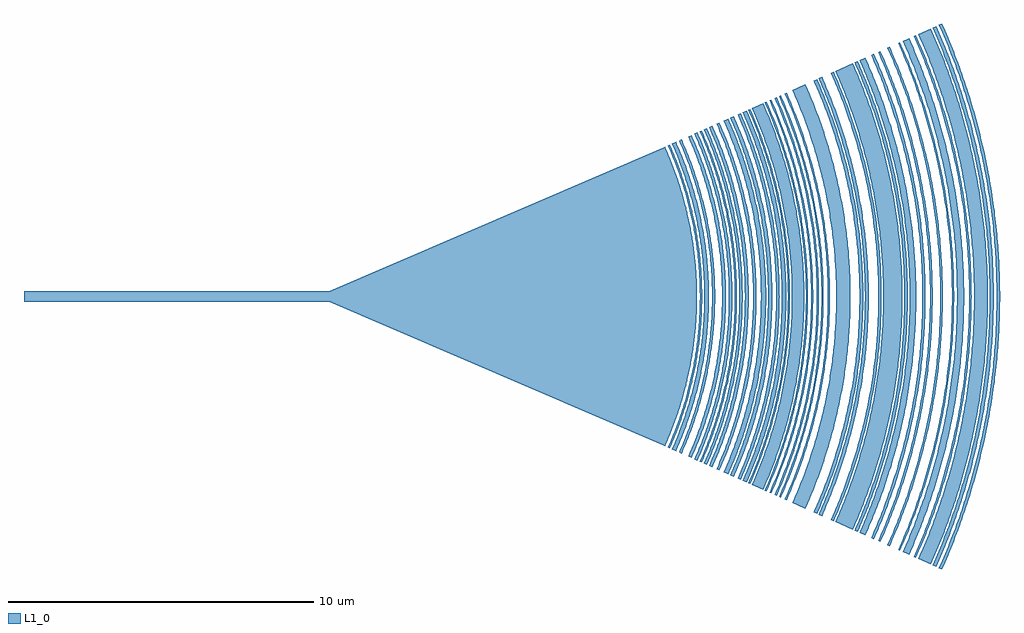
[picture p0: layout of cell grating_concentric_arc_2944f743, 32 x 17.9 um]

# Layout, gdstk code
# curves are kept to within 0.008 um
import gdstk
lib = gdstk.Library(unit=1e-6, precision=1e-09)
def R(c, l, rs):  # rectangles x0, y0, x1, y1
    for r in rs: c.add(gdstk.rectangle(r[:2], r[2:], *l))
def P(c, l, *ps):  # polygons
    for p in ps: c.add(gdstk.Polygon(p, *l))
L1_0 = (1, 0)

straight_b617759b = lib.new_cell('straight_b617759b')
R(straight_b617759b, L1_0, [(0,-0.175,10,0.175)])

ring_f6908f7f_transform_ = lib.new_cell('ring_f6908f7f_transform_39bdeef9')
P(ring_f6908f7f_transform_, L1_0, [(10.963,-4.881),(11.178,-4.366),(11.413,-3.708),(11.591,-3.106),(11.738,-2.495),(11.83,-2.015),(11.927,-1.324),(11.98,-0.698),(12,-0.07),(11.984,0.628),(11.948,1.115),(11.893,1.601),(11.78,2.29),(11.644,2.903),(11.434,3.642),(11.228,4.235),(10.963,4.881),(11.02,4.906),(11.262,4.323),(11.494,3.661),(11.67,3.054),(11.814,2.439),(11.925,1.818),(12.011,1.121),(12.05,0.561),(12.063,-0.07),(12.038,-0.771),(11.973,-1.47),(11.88,-2.095),(11.754,-2.714),(11.652,-3.122),(11.536,-3.527),(11.311,-4.192),(11.211,-4.454),(11.02,-4.906)])

ring_3187604d_transform_ = lib.new_cell('ring_3187604d_transform_6264cd24')
P(ring_3187604d_transform_, L1_0, [(11.112,-4.947),(11.356,-4.359),(11.569,-3.759),(11.731,-3.217),(11.913,-2.46),(12.003,-1.973),(12.09,-1.342),(12.139,-0.778),(12.164,-0.071),(12.154,0.495),(12.118,1.06),(12.025,1.833),(11.927,2.39),(11.803,2.943),(11.693,3.353),(11.569,3.759),(11.356,4.359),(11.112,4.947),(11.174,4.975),(11.394,4.45),(11.633,3.78),(11.815,3.166),(11.965,2.543),(12.07,1.984),(12.165,1.279),(12.219,0.569),(12.232,-0.071),(12.219,-0.569),(12.165,-1.279),(12.07,-1.984),(11.95,-2.613),(11.758,-3.372),(11.633,-3.78),(11.494,-4.184),(11.368,-4.516),(11.174,-4.975)])

ring_612fbc55_transform_ = lib.new_cell('ring_612fbc55_transform_9b670e05')
P(ring_612fbc55_transform_, L1_0, [(11.243,-5.006),(11.515,-4.343),(11.682,-3.871),(11.906,-3.116),(12.038,-2.559),(12.144,-1.996),(12.239,-1.286),(12.286,-0.716),(12.306,-0.143),(12.299,0.429),(12.266,1.001),(12.197,1.642),(12.12,2.137),(11.975,2.838),(11.79,3.53),(11.54,4.276),(11.243,5.006),(11.379,5.066),(11.629,4.464),(11.824,3.918),(12.032,3.224),(12.199,2.519),(12.303,1.949),(12.388,1.302),(12.439,0.652),(12.456,-0.072),(12.426,-0.869),(12.345,-1.662),(12.241,-2.306),(12.086,-3.013),(11.933,-3.572),(11.801,-3.987),(11.629,-4.464),(11.466,-4.867),(11.379,-5.066)])

ring_6fd13dff_transform_ = lib.new_cell('ring_6fd13dff_transform_6d413170')
P(ring_6fd13dff_transform_, L1_0, [(11.476,-5.109),(11.728,-4.502),(11.947,-3.882),(12.115,-3.322),(12.272,-2.683),(12.384,-2.109),(12.477,-1.458),(12.541,-0.73),(12.562,-0.073),(12.545,0.657),(12.508,1.168),(12.44,1.748),(12.345,2.325),(12.189,3.039),(12.013,3.673),(11.754,4.433),(11.476,5.109),(11.563,5.148),(11.817,4.536),(12.038,3.911),(12.245,3.205),(12.396,2.56),(12.502,1.98),(12.596,1.25),(12.644,0.589),(12.657,-0.147),(12.627,-0.883),(12.554,-1.616),(12.439,-2.343),(12.299,-2.991),(12.083,-3.771),(11.817,-4.536),(11.563,-5.148)])

ring_70a0d1d5_transform_ = lib.new_cell('ring_70a0d1d5_transform_9cc16503')
P(ring_70a0d1d5_transform_, L1_0, [(11.776,-5.243),(12.034,-4.62),(12.26,-3.983),(12.432,-3.409),(12.577,-2.827),(12.72,-2.091),(12.812,-1.422),(12.869,-0.75),(12.89,-0.15),(12.877,0.6),(12.835,1.198),(12.765,1.794),(12.668,2.386),(12.508,3.118),(12.283,3.912),(12.034,4.62),(11.776,5.243),(11.888,5.293),(12.121,4.734),(12.376,4.021),(12.589,3.295),(12.744,2.631),(12.864,1.961),(12.949,1.285),(12.999,0.605),(13.012,-0.151),(12.981,-0.908),(12.916,-1.586),(12.802,-2.334),(12.662,-3.001),(12.422,-3.877),(12.121,-4.734),(11.888,-5.293)])

ring_32623f31_transform_ = lib.new_cell('ring_32623f31_transform_3d4aee80')
P(ring_32623f31_transform_, L1_0, [(11.98,-5.334),(12.243,-4.699),(12.472,-4.052),(12.647,-3.468),(12.811,-2.801),(12.94,-2.127),(13.034,-1.447),(13.087,-0.839),(13.113,-0.153),(13.106,0.458),(13.064,1.143),(12.986,1.825),(12.873,2.502),(12.724,3.172),(12.495,3.98),(12.243,4.699),(11.98,5.334),(12.079,5.378),(12.344,4.738),(12.599,4.013),(12.811,3.273),(12.949,2.674),(13.071,1.992),(13.15,1.382),(13.208,0.615),(13.222,-0.077),(13.2,-0.769),(13.124,-1.611),(13.008,-2.372),(12.866,-3.049),(12.622,-3.939),(12.344,-4.738),(12.079,-5.378)])

ring_a5040164_transform_ = lib.new_cell('ring_a5040164_transform_58c725f9')
P(ring_a5040164_transform_, L1_0, [(12.157,-5.413),(12.424,-4.769),(12.68,-4.039),(12.874,-3.369),(13.017,-2.767),(13.144,-2.082),(13.235,-1.391),(13.285,-0.774),(13.308,0),(13.297,0.542),(13.243,1.314),(13.156,2.005),(13.033,2.691),(12.874,3.369),(12.68,4.039),(12.424,4.769),(12.157,5.413),(12.218,5.44),(12.458,4.866),(12.696,4.207),(12.899,3.537),(13.066,2.857),(13.198,2.169),(13.293,1.475),(13.352,0.778),(13.375,0),(13.352,-0.778),(13.293,-1.475),(13.185,-2.246),(13.032,-3.009),(12.919,-3.462),(12.813,-3.836),(12.568,-4.574),(12.401,-5.01),(12.218,-5.44)])

ring_d2cb7e5f_transform_ = lib.new_cell('ring_d2cb7e5f_transform_f403570f')
P(ring_d2cb7e5f_transform_, L1_0, [(12.293,-5.473),(12.563,-4.822),(12.798,-4.158),(12.978,-3.558),(13.146,-2.874),(13.291,-2.105),(13.366,-1.562),(13.429,-0.861),(13.456,-0.157),(13.451,0.391),(13.412,1.095),(13.326,1.873),(13.224,2.491),(13.076,3.179),(12.869,3.934),(12.591,4.749),(12.293,5.473),(12.387,5.515),(12.659,4.859),(12.896,4.19),(13.118,3.433),(13.263,2.819),(13.38,2.199),(13.477,1.496),(13.541,0.71),(13.559,-0.079),(13.532,-0.867),(13.468,-1.574),(13.367,-2.277),(13.194,-3.127),(13.077,-3.586),(12.944,-4.04),(12.659,-4.859),(12.387,-5.515)])

ring_7bb08751_transform_ = lib.new_cell('ring_7bb08751_transform_3d434671')
P(ring_7bb08751_transform_, L1_0, [(12.461,-5.548),(12.734,-4.888),(12.972,-4.215),(13.175,-3.53),(13.342,-2.836),(13.472,-2.134),(13.557,-1.505),(13.617,-0.793),(13.64,-0.079),(13.625,0.635),(13.595,1.11),(13.518,1.82),(13.419,2.447),(13.254,3.223),(13.044,3.988),(12.79,4.74),(12.461,5.548),(12.569,5.596),(12.874,4.856),(13.11,4.176),(13.311,3.484),(13.475,2.782),(13.59,2.152),(13.692,1.359),(13.744,0.64),(13.759,-0.08),(13.736,-0.8),(13.666,-1.597),(13.564,-2.31),(13.388,-3.173),(13.248,-3.715),(13.11,-4.176),(12.956,-4.631),(12.787,-5.08),(12.569,-5.596)])

ring_a05e2332_transform_ = lib.new_cell('ring_a05e2332_transform_80e2dd3d')
P(ring_a05e2332_transform_, L1_0, [(12.706,-5.657),(12.955,-5.06),(13.202,-4.375),(13.413,-3.678),(13.57,-3.05),(13.711,-2.335),(13.814,-1.615),(13.885,-0.809),(13.908,-0.081),(13.897,0.566),(13.848,1.293),(13.773,1.936),(13.653,2.654),(13.495,3.365),(13.252,4.221),(13.013,4.909),(12.706,5.657),(12.801,5.699),(13.053,5.098),(13.327,4.33),(13.535,3.627),(13.707,2.913),(13.853,2.112),(13.936,1.465),(13.994,0.733),(14.013,-0.082),(13.989,-0.815),(13.918,-1.627),(13.814,-2.353),(13.654,-3.152),(13.424,-4.019),(13.276,-4.485),(13.111,-4.946),(12.801,-5.699)])

ring_1d89af07_transform_ = lib.new_cell('ring_1d89af07_transform_c03b8dc9')
P(ring_1d89af07_transform_, L1_0, [(12.94,-5.761),(13.194,-5.153),(13.471,-4.377),(13.682,-3.666),(13.855,-2.945),(13.977,-2.297),(14.078,-1.562),(14.13,-0.988),(14.162,-0.247),(14.156,0.494),(14.124,1.07),(14.059,1.726),(13.949,2.46),(13.763,3.347),(13.521,4.22),(13.253,4.999),(12.94,5.761),(13.091,5.829),(13.408,5.057),(13.629,4.428),(13.842,3.709),(14.051,2.816),(14.179,2.077),(14.268,1.332),(14.318,0.583),(14.328,-0.25),(14.289,-1.083),(14.191,-1.994),(14.051,-2.816),(13.884,-3.548),(13.752,-4.03),(13.603,-4.507),(13.408,-5.057),(13.191,-5.599),(13.091,-5.829)])

ring_d86fe6da_transform_ = lib.new_cell('ring_d86fe6da_transform_7767c9fa')
P(ring_d86fe6da_transform_, L1_0, [(13.155,-5.857),(13.473,-5.082),(13.695,-4.45),(13.909,-3.727),(14.085,-2.994),(14.209,-2.335),(14.312,-1.588),(14.37,-0.921),(14.399,-0.168),(14.388,0.586),(14.345,1.255),(14.271,1.921),(14.151,2.665),(13.972,3.484),(13.746,4.29),(13.473,5.082),(13.155,5.857),(13.275,5.911),(13.567,5.208),(13.821,4.491),(14.037,3.761),(14.232,2.939),(14.366,2.19),(14.461,1.435),(14.52,0.592),(14.532,-0.085),(14.502,-0.929),(14.434,-1.687),(14.311,-2.523),(14.14,-3.351),(13.897,-4.249),(13.74,-4.731),(13.536,-5.287),(13.275,-5.911)])

ring_1d26766f_transform_ = lib.new_cell('ring_1d26766f_transform_23518933')
P(ring_1d26766f_transform_, L1_0, [(13.395,-5.964),(13.689,-5.255),(13.945,-4.531),(14.163,-3.795),(14.324,-3.132),(14.482,-2.294),(14.573,-1.617),(14.638,-0.853),(14.662,-0.085),(14.647,0.682),(14.607,1.278),(14.52,2.041),(14.393,2.798),(14.227,3.547),(13.997,4.368),(13.689,5.255),(13.395,5.964),(13.494,6.008),(13.79,5.293),(14.074,4.483),(14.311,3.657),(14.483,2.903),(14.615,2.141),(14.707,1.373),(14.755,0.687),(14.77,-0.172),(14.735,-1.03),(14.661,-1.8),(14.546,-2.565),(14.392,-3.323),(14.245,-3.906),(14.1,-4.401),(13.79,-5.293),(13.494,-6.008)])

ring_c2eb0f71_transform_ = lib.new_cell('ring_c2eb0f71_transform_50bc300d')
P(ring_c2eb0f71_transform_, L1_0, [(13.564,-6.039),(13.861,-5.321),(14.121,-4.588),(14.319,-3.926),(14.505,-3.171),(14.665,-2.323),(14.757,-1.638),(14.817,-0.95),(14.847,-0.086),(14.835,0.604),(14.791,1.294),(14.715,1.981),(14.607,2.663),(14.427,3.508),(14.199,4.341),(13.892,5.24),(13.564,6.039),(13.694,6.097),(14.026,5.29),(14.283,4.549),(14.502,3.795),(14.663,3.117),(14.806,2.345),(14.917,1.48),(14.97,0.785),(14.99,-0.087),(14.954,-1.046),(14.868,-1.913),(14.747,-2.689),(14.566,-3.542),(14.457,-3.964),(14.283,-4.549),(14.116,-5.045),(13.899,-5.615),(13.694,-6.097)])

ring_e8487d06_transform_ = lib.new_cell('ring_e8487d06_transform_040d5482')
P(ring_e8487d06_transform_, L1_0, [(13.749,-6.121),(14.051,-5.393),(14.314,-4.651),(14.443,-4.232),(14.56,-3.811),(14.703,-3.215),(14.851,-2.441),(14.916,-2.008),(14.968,-1.573),(15.03,-0.788),(15.05,-0.088),(15.048,0.263),(15.03,0.788),(14.977,1.486),(14.904,2.095),(14.757,2.958),(14.582,3.726),(14.393,4.4),(14.23,4.9),(14.082,5.312),(13.888,5.8),(13.749,6.121),(13.804,6.146),(14.107,5.415),(14.344,4.753),(14.573,3.996),(14.762,3.228),(14.91,2.451),(14.987,1.929),(15.028,1.579),(15.09,0.791),(15.106,0.352),(15.11,-0.088),(15.08,-0.966),(15.018,-1.667),(14.951,-2.19),(14.896,-2.537),(14.743,-3.313),(14.662,-3.656),(14.501,-4.249),(14.344,-4.753),(14.229,-5.085),(14.043,-5.579),(13.804,-6.146)])

ring_a9c631b4_transform_ = lib.new_cell('ring_a9c631b4_transform_5d05127f')
P(ring_a9c631b4_transform_, L1_0, [(13.868,-6.174),(14.172,-5.44),(14.41,-4.775),(14.64,-4.014),(14.811,-3.329),(14.965,-2.549),(15.056,-1.938),(15.137,-1.147),(15.174,-0.442),(15.174,0.442),(15.13,1.235),(15.032,2.113),(14.901,2.897),(14.708,3.758),(14.491,4.523),(14.203,5.358),(13.868,6.174),(14.234,6.337),(14.546,5.584),(14.846,4.728),(15.096,3.857),(15.295,2.973),(15.442,2.079),(15.529,1.268),(15.577,0.363),(15.577,-0.363),(15.529,-1.268),(15.486,-1.719),(15.403,-2.348),(15.312,-2.884),(15.202,-3.417),(14.952,-4.382),(14.79,-4.901),(14.61,-5.414),(14.234,-6.337)])

ring_247fc0f7_transform_ = lib.new_cell('ring_247fc0f7_transform_c4209b14')
P(ring_247fc0f7_transform_, L1_0, [(14.289,-6.362),(14.602,-5.605),(14.847,-4.92),(15.06,-4.224),(15.176,-3.784),(15.28,-3.341),(15.434,-2.537),(15.535,-1.816),(15.609,-1),(15.628,-0.637),(15.641,-0.091),(15.624,0.728),(15.573,1.454),(15.476,2.267),(15.336,3.074),(15.176,3.784),(14.984,4.486),(14.847,4.92),(14.698,5.349),(14.536,5.775),(14.289,6.362),(14.343,6.386),(14.658,5.627),(14.904,4.939),(15.015,4.59),(15.166,4.064),(15.358,3.264),(15.446,2.816),(15.522,2.366),(15.615,1.641),(15.663,1.095),(15.684,0.73),(15.701,-0.091),(15.688,-0.639),(15.669,-1.004),(15.595,-1.823),(15.478,-2.636),(15.319,-3.443),(15.212,-3.887),(15.093,-4.328),(14.904,-4.939),(14.785,-5.284),(14.558,-5.882),(14.343,-6.386)])

ring_f454751c_transform_ = lib.new_cell('ring_f454751c_transform_53a0c793')
P(ring_f454751c_transform_, L1_0, [(14.443,-6.431),(14.659,-5.923),(14.793,-5.58),(15.065,-4.798),(15.295,-4.003),(15.465,-3.287),(15.616,-2.473),(15.724,-1.653),(15.789,-0.827),(15.81,-0.092),(15.806,0.368),(15.789,0.827),(15.724,1.653),(15.616,2.473),(15.484,3.197),(15.341,3.825),(15.146,4.534),(14.979,5.06),(14.825,5.494),(14.659,5.923),(14.443,6.431),(14.498,6.455),(14.68,6.031),(14.849,5.601),(15.122,4.816),(15.353,4.018),(15.484,3.48),(15.561,3.119),(15.703,2.3),(15.793,1.567),(15.853,0.738),(15.87,-0.092),(15.861,-0.554),(15.838,-1.015),(15.763,-1.842),(15.645,-2.665),(15.484,-3.48),(15.281,-4.286),(15.177,-4.64),(15.006,-5.167),(14.783,-5.773),(14.498,-6.455)])

ring_ce7b8972_transform_ = lib.new_cell('ring_ce7b8972_transform_a9e19676')
P(ring_ce7b8972_transform_, L1_0, [(14.613,-6.506),(14.934,-5.733),(15.214,-4.943),(15.427,-4.23),(15.544,-3.78),(15.647,-3.326),(15.785,-2.594),(15.899,-1.765),(15.936,-1.394),(15.975,-0.837),(15.996,-0.093),(15.987,0.558),(15.936,1.394),(15.828,2.318),(15.685,3.144),(15.544,3.78),(15.351,4.499),(15.214,4.943),(15.032,5.471),(14.797,6.079),(14.613,6.506),(14.673,6.533),(14.961,5.843),(15.246,5.052),(15.49,4.247),(15.691,3.431),(15.784,2.973),(15.864,2.513),(15.942,1.957),(15.983,1.586),(16.044,0.747),(16.061,-0.093),(16.034,-0.934),(15.992,-1.493),(15.953,-1.865),(15.849,-2.605),(15.766,-3.065),(15.65,-3.613),(15.538,-4.067),(15.387,-4.606),(15.246,-5.052),(15.093,-5.493),(14.892,-6.017),(14.673,-6.533)])

ring_627ba553_transform_ = lib.new_cell('ring_627ba553_transform_dc075741')
P(ring_627ba553_transform_, L1_0, [(14.755,-6.569),(15.079,-5.788),(15.241,-5.347),(15.39,-4.902),(15.625,-4.09),(15.799,-3.358),(15.953,-2.527),(16.019,-2.062),(16.073,-1.595),(16.134,-0.751),(16.152,0),(16.134,0.751),(16.073,1.595),(15.981,2.341),(15.837,3.174),(15.649,3.999),(15.446,4.722),(15.178,5.524),(14.94,6.138),(14.755,6.569),(14.81,6.594),(15.135,5.81),(15.266,5.456),(15.447,4.92),(15.584,4.469),(15.683,4.105),(15.775,3.739),(15.877,3.278),(16.012,2.536),(16.123,1.695),(16.158,1.319),(16.194,0.754),(16.212,0),(16.205,-0.472),(16.184,-0.943),(16.113,-1.788),(15.997,-2.629),(15.914,-3.093),(15.817,-3.555),(15.707,-4.013),(15.584,-4.469),(15.447,-4.92),(15.266,-5.456),(15.031,-6.073),(14.81,-6.594)])

ring_ff601e6b_transform_ = lib.new_cell('ring_ff601e6b_transform_56f37b6e')
P(ring_ff601e6b_transform_, L1_0, [(14.944,-6.653),(15.237,-5.951),(15.528,-5.145),(15.776,-4.326),(15.96,-3.587),(16.126,-2.747),(16.199,-2.277),(16.258,-1.804),(16.33,-0.951),(16.358,-0.095),(16.34,0.761),(16.278,1.615),(16.171,2.465),(16.039,3.215),(15.849,4.05),(15.671,4.691),(15.528,5.145),(15.339,5.684),(15.167,6.128),(14.944,6.653),(15.002,6.679),(15.331,5.885),(15.618,5.075),(15.862,4.25),(16.063,3.414),(16.138,3.04),(16.234,2.474),(16.341,1.621),(16.404,0.764),(16.421,-0.096),(16.394,-0.955),(16.321,-1.811),(16.204,-2.663),(16.12,-3.133),(16.022,-3.601),(15.934,-3.973),(15.759,-4.618),(15.618,-5.075),(15.464,-5.527),(15.226,-6.152),(15.002,-6.679)])

ring_5a0e3c7c_transform_ = lib.new_cell('ring_5a0e3c7c_transform_6b1fe917')
P(ring_5a0e3c7c_transform_, L1_0, [(15.192,-6.764),(15.526,-5.96),(15.786,-5.231),(15.986,-4.584),(16.204,-3.741),(16.361,-2.983),(16.482,-2.219),(16.583,-1.257),(16.623,-0.484),(16.626,0.387),(16.583,1.257),(16.482,2.219),(16.325,3.173),(16.113,4.117),(15.846,5.047),(15.526,5.96),(15.192,6.764),(15.62,6.954),(15.998,6.034),(16.322,5.094),(16.566,4.233),(16.704,3.652),(16.803,3.165),(16.888,2.675),(16.971,2.084),(17.049,1.292),(17.094,0.398),(17.088,-0.597),(17.063,-1.093),(17.015,-1.688),(16.932,-2.38),(16.872,-2.773),(16.765,-3.36),(16.66,-3.846),(16.516,-4.425),(16.322,-5.094),(15.998,-6.034),(15.62,-6.954)])

ring_a0734c23_transform_ = lib.new_cell('ring_a0734c23_transform_28a4de36')
P(ring_a0734c23_transform_, L1_0, [(15.892,-7.076),(16.204,-6.328),(16.513,-5.472),(16.777,-4.6),(17.016,-3.617),(17.182,-2.721),(17.29,-1.919),(17.36,-1.112),(17.395,-0.202),(17.385,0.607),(17.33,1.516),(17.24,2.321),(17.095,3.22),(16.879,4.208),(16.606,5.183),(16.312,6.045),(16.129,6.517),(15.892,7.076),(16,7.124),(16.351,6.277),(16.657,5.412),(16.944,4.435),(17.153,3.542),(17.299,2.74),(17.429,1.729),(17.5,0.713),(17.514,-0.102),(17.504,-0.611),(17.472,-1.222),(17.384,-2.134),(17.23,-3.142),(17.042,-4.039),(16.918,-4.533),(16.749,-5.121),(16.527,-5.798),(16.351,-6.277),(16,-7.124)])

ring_170a56c5_transform_ = lib.new_cell('ring_170a56c5_transform_680a4856')
P(ring_170a56c5_transform_, L1_0, [(16.055,-7.148),(16.407,-6.298),(16.714,-5.431),(16.976,-4.549),(17.169,-3.754),(17.342,-2.85),(17.456,-2.04),(17.545,-1.022),(17.574,-0.102),(17.56,0.716),(17.498,1.634),(17.389,2.547),(17.271,3.253),(17.052,4.252),(16.894,4.844),(16.746,5.333),(16.407,6.298),(16.055,7.148),(16.164,7.197),(16.519,6.341),(16.828,5.468),(17.091,4.58),(17.307,3.679),(17.46,2.87),(17.597,1.85),(17.67,0.926),(17.694,-0.103),(17.658,-1.132),(17.562,-2.156),(17.407,-3.174),(17.217,-4.081),(17.091,-4.58),(16.921,-5.173),(16.73,-5.761),(16.519,-6.341),(16.164,-7.197)])

ring_613caf00_transform_ = lib.new_cell('ring_613caf00_transform_a7e25396')
P(ring_613caf00_transform_, L1_0, [(16.456,-7.327),(16.817,-6.455),(17.099,-5.666),(17.372,-4.763),(17.597,-3.848),(17.775,-2.921),(17.903,-1.987),(17.983,-1.047),(18.013,-0.105),(17.998,0.733),(17.925,1.779),(17.823,2.611),(17.662,3.54),(17.478,4.358),(17.195,5.367),(16.891,6.259),(16.662,6.845),(16.456,7.327),(16.547,7.367),(16.91,6.491),(17.226,5.597),(17.468,4.79),(17.717,3.766),(17.89,2.833),(18.002,1.998),(18.053,1.474),(18.088,0.948),(18.113,0),(18.088,-0.948),(18.053,-1.474),(18.002,-1.998),(17.873,-2.937),(17.672,-3.972),(17.549,-4.484),(17.382,-5.094),(17.056,-6.096),(16.794,-6.785),(16.547,-7.367)])

ring_fca23a49_transform_ = lib.new_cell('ring_fca23a49_transform_eec5944b')
P(ring_fca23a49_transform_, L1_0, [(16.601,-7.391),(16.889,-6.709),(17.217,-5.816),(17.469,-5.009),(17.683,-4.191),(17.859,-3.364),(17.996,-2.529),(18.094,-1.689),(18.158,-0.74),(18.17,0.317),(18.121,1.373),(18.024,2.32),(17.859,3.364),(17.753,3.882),(17.607,4.499),(17.316,5.515),(16.966,6.512),(16.601,7.391),(17.174,7.646),(17.59,6.635),(17.946,5.601),(18.241,4.548),(18.454,3.587),(18.568,2.941),(18.646,2.4),(18.746,1.42),(18.784,0.765),(18.798,0.219),(18.784,-0.765),(18.746,-1.42),(18.685,-2.074),(18.601,-2.725),(18.514,-3.264),(18.389,-3.909),(18.241,-4.548),(18.041,-5.287),(17.845,-5.913),(17.551,-6.737),(17.174,-7.646)])

ring_902678b9_transform_ = lib.new_cell('ring_902678b9_transform_00b93a87')
P(ring_902678b9_transform_, L1_0, [(17.233,-7.673),(17.611,-6.76),(17.907,-5.934),(18.163,-5.094),(18.304,-4.564),(18.429,-4.029),(18.632,-2.951),(18.749,-2.081),(18.832,-1.097),(18.864,-0.11),(18.844,0.878),(18.772,1.863),(18.649,2.843),(18.496,3.707),(18.277,4.67),(18.103,5.305),(17.941,5.829),(17.611,6.76),(17.233,7.673),(17.333,7.717),(17.713,6.799),(18.045,5.863),(18.327,4.911),(18.559,3.945),(18.666,3.403),(18.757,2.859),(18.881,1.873),(18.953,0.883),(18.973,-0.11),(18.962,-0.662),(18.935,-1.213),(18.858,-2.093),(18.789,-2.641),(18.704,-3.186),(18.512,-4.16),(18.383,-4.697),(18.208,-5.336),(17.867,-6.385),(17.592,-7.108),(17.333,-7.717)])

ring_16f1f77a_transform_ = lib.new_cell('ring_16f1f77a_transform_8d42b04b')
P(ring_16f1f77a_transform_, L1_0, [(17.395,-7.745),(17.776,-6.824),(18.109,-5.884),(18.392,-4.928),(18.625,-3.959),(18.789,-3.088),(18.912,-2.21),(19.002,-1.218),(19.038,-0.332),(19.033,0.554),(18.978,1.549),(18.885,2.43),(18.732,3.415),(18.625,3.959),(18.502,4.499),(18.209,5.567),(17.854,6.616),(17.654,7.133),(17.395,7.745),(17.587,7.83),(17.973,6.899),(18.309,5.949),(18.443,5.521),(18.624,4.874),(18.854,3.893),(18.959,3.343),(19.048,2.79),(19.168,1.789),(19.212,1.231),(19.24,0.672),(19.25,-0.224),(19.212,-1.231),(19.168,-1.789),(19.108,-2.346),(19.014,-3.012),(18.919,-3.563),(18.706,-4.549),(18.506,-5.306),(18.309,-5.949),(18.052,-6.689),(17.807,-7.315),(17.587,-7.83)])

ring_6eba590c_transform_ = lib.new_cell('ring_6eba590c_transform_94063eb8')
P(ring_6eba590c_transform_, L1_0, [(17.775,-7.914),(18.165,-6.973),(18.36,-6.442),(18.54,-5.905),(18.704,-5.363),(18.852,-4.817),(19.056,-3.935),(19.218,-3.044),(19.351,-2.034),(19.425,-1.131),(19.457,-0.113),(19.446,0.679),(19.418,1.244),(19.373,1.809),(19.252,2.82),(19.1,3.713),(18.984,4.267),(18.852,4.817),(18.704,5.363),(18.54,5.905),(18.36,6.442),(18.165,6.973),(17.775,7.914),(17.865,7.954),(18.257,7.008),(18.453,6.474),(18.633,5.935),(18.798,5.39),(18.947,4.841),(19.152,3.954),(19.315,3.059),(19.396,2.496),(19.46,1.931),(19.529,1.023),(19.556,0),(19.523,-1.137),(19.436,-2.157),(19.297,-3.171),(19.218,-3.62),(19.08,-4.288),(18.947,-4.841),(18.798,-5.39),(18.633,-5.935),(18.415,-6.581),(18.132,-7.326),(17.865,-7.954)])

ring_d9823dc3_transform_ = lib.new_cell('ring_d9823dc3_transform_79f7f535')
P(ring_d9823dc3_transform_, L1_0, [(18.004,-8.016),(18.358,-7.17),(18.559,-6.633),(18.744,-6.09),(19.037,-5.101),(19.278,-4.098),(19.466,-3.083),(19.588,-2.174),(19.675,-1.146),(19.708,-0.115),(19.687,0.917),(19.623,1.832),(19.5,2.856),(19.324,3.873),(19.123,4.768),(18.913,5.542),(18.744,6.09),(18.52,6.741),(18.273,7.383),(18.004,8.016),(18.078,8.049),(18.474,7.092),(18.711,6.443),(18.856,6.005),(19.115,5.122),(19.229,4.676),(19.38,4.002),(19.563,2.982),(19.692,1.954),(19.762,1.036),(19.789,0),(19.762,-1.036),(19.723,-1.61),(19.668,-2.183),(19.612,-2.64),(19.508,-3.323),(19.403,-3.889),(19.282,-4.452),(19.115,-5.122),(18.99,-5.565),(18.856,-6.005),(18.634,-6.66),(18.391,-7.306),(18.078,-8.049)])

ring_6650b87d_transform_ = lib.new_cell('ring_6650b87d_transform_b8f9deef')
P(ring_6650b87d_transform_, L1_0, [(18.31,-8.152),(18.67,-7.292),(19.026,-6.304),(19.33,-5.3),(19.581,-4.281),(19.778,-3.251),(19.921,-2.211),(19.977,-1.631),(20.016,-1.049),(20.043,-0.117),(20.022,0.933),(19.945,1.979),(19.832,2.905),(19.652,3.939),(19.448,4.849),(19.201,5.748),(18.989,6.415),(18.794,6.965),(18.54,7.616),(18.31,8.152),(18.381,8.184),(18.785,7.211),(19.1,6.329),(19.405,5.321),(19.657,4.298),(19.855,3.263),(19.941,2.684),(20.011,2.103),(20.072,1.404),(20.099,0.936),(20.121,-0.117),(20.087,-1.17),(20.011,-2.103),(19.941,-2.684),(19.855,-3.263),(19.657,-4.298),(19.495,-4.981),(19.342,-5.546),(19.025,-6.551),(18.785,-7.211),(18.429,-8.077),(18.381,-8.184)])

ring_6530513d_transform_ = lib.new_cell('ring_6530513d_transform_bdf73f55')
P(ring_6530513d_transform_, L1_0, [(18.663,-8.309),(18.986,-7.543),(19.156,-7.099),(19.355,-6.539),(19.537,-5.973),(19.702,-5.402),(19.851,-4.827),(19.958,-4.364),(20.054,-3.898),(20.159,-3.313),(20.247,-2.725),(20.305,-2.254),(20.352,-1.781),(20.395,-1.188),(20.421,-0.594),(20.429,-0.119),(20.424,0.475),(20.407,0.95),(20.341,1.899),(20.277,2.49),(20.214,2.961),(20.119,3.548),(20.031,4.015),(19.906,4.596),(19.764,5.173),(19.537,5.973),(19.355,6.539),(19.115,7.21),(18.897,7.763),(18.663,8.309),(18.721,8.335),(18.91,7.897),(19.131,7.344),(19.297,6.897),(19.49,6.333),(19.699,5.649),(19.825,5.189),(20.045,4.261),(20.16,3.676),(20.259,3.088),(20.38,2.142),(20.458,1.192),(20.484,0.596),(20.493,0),(20.484,-0.596),(20.458,-1.192),(20.38,-2.142),(20.325,-2.616),(20.24,-3.206),(20.16,-3.676),(20.02,-4.377),(19.884,-4.958),(19.763,-5.419),(19.632,-5.877),(19.415,-6.559),(19.174,-7.232),(18.817,-8.117),(18.721,-8.335)])

ring_364817cd_transform_ = lib.new_cell('ring_364817cd_transform_cd18ed1a')
P(ring_364817cd_transform_, L1_0, [(18.813,-8.376),(19.182,-7.492),(19.548,-6.477),(19.728,-5.906),(19.892,-5.33),(20.118,-4.399),(20.321,-3.34),(20.468,-2.272),(20.551,-1.317),(20.592,-0.24),(20.581,0.719),(20.515,1.795),(20.425,2.629),(20.259,3.694),(20.118,4.399),(19.982,4.982),(19.828,5.561),(19.658,6.135),(19.432,6.818),(19.268,7.268),(19.049,7.825),(18.813,8.376),(19.021,8.469),(19.438,7.462),(19.687,6.779),(19.839,6.319),(20.143,5.272),(20.391,4.21),(20.584,3.137),(20.72,2.056),(20.799,0.969),(20.816,0.484),(20.82,-0.242),(20.809,-0.727),(20.771,-1.452),(20.72,-2.056),(20.651,-2.658),(20.584,-3.137),(20.462,-3.854),(20.232,-4.92),(20.015,-5.739),(19.765,-6.549),(19.524,-7.235),(19.26,-7.912),(19.021,-8.469)])

ring_cceadb83_transform_ = lib.new_cell('ring_cceadb83_transform_2846ffbc')
P(ring_cceadb83_transform_, L1_0, [(19.177,-8.538),(19.554,-7.637),(19.927,-6.603),(20.245,-5.551),(20.508,-4.484),(20.607,-4.006),(20.734,-3.284),(20.864,-2.316),(20.923,-1.708),(20.957,-1.221),(20.992,-0.122),(20.975,0.855),(20.941,1.464),(20.89,2.073),(20.753,3.163),(20.559,4.245),(20.339,5.197),(20.075,6.138),(19.849,6.834),(19.641,7.409),(19.418,7.977),(19.177,8.538),(19.245,8.568),(19.667,7.549),(19.997,6.626),(20.316,5.571),(20.58,4.5),(20.787,3.416),(20.861,2.932),(20.937,2.324),(21.006,1.592),(21.037,1.102),(21.066,0),(21.037,-1.102),(21.006,-1.592),(20.937,-2.324),(20.861,-2.932),(20.787,-3.416),(20.58,-4.5),(20.41,-5.215),(20.25,-5.807),(20.035,-6.51),(19.878,-6.974),(19.577,-7.778),(19.245,-8.568)])

ring_ca66dcad_transform_ = lib.new_cell('ring_ca66dcad_transform_622b6b98')
P(ring_ca66dcad_transform_, L1_0, [(19.322,-8.603),(19.746,-7.58),(20.116,-6.536),(20.398,-5.593),(20.663,-4.518),(20.871,-3.43),(21.008,-2.455),(21.099,-1.475),(21.148,-0.369),(21.138,0.738),(21.115,1.23),(21.059,1.966),(20.993,2.578),(20.909,3.187),(20.714,4.277),(20.462,5.355),(20.297,5.948),(20.116,6.536),(19.746,7.58),(19.322,8.603),(19.732,8.785),(19.979,8.208),(20.21,7.623),(20.423,7.032),(20.619,6.435),(20.831,5.712),(20.958,5.225),(21.203,4.121),(21.314,3.503),(21.407,2.882),(21.528,1.757),(21.591,0.628),(21.594,-0.503),(21.57,-1.13),(21.528,-1.757),(21.454,-2.508),(21.372,-3.13),(21.272,-3.751),(21.128,-4.491),(20.988,-5.103),(20.831,-5.712),(20.619,-6.435),(20.34,-7.269),(20.074,-7.975),(19.732,-8.785)])

ring_c6c82bf1_transform_ = lib.new_cell('ring_c6c82bf1_transform_98d769d4')
P(ring_c6c82bf1_transform_, L1_0, [(19.791,-8.812),(20.225,-7.764),(20.604,-6.695),(20.926,-5.607),(21.191,-4.504),(21.357,-3.638),(21.453,-3.015),(21.532,-2.39),(21.62,-1.385),(21.651,-0.756),(21.664,-0.126),(21.641,1.008),(21.558,2.139),(21.417,3.264),(21.242,4.257),(20.99,5.363),(20.79,6.092),(20.604,6.695),(20.225,7.764),(19.791,8.812),(19.908,8.864),(20.345,7.81),(20.726,6.734),(21.05,5.64),(21.205,5.026),(21.342,4.407),(21.524,3.409),(21.614,2.782),(21.686,2.152),(21.769,1.014),(21.792,-0.127),(21.779,-0.761),(21.748,-1.394),(21.645,-2.53),(21.483,-3.659),(21.367,-4.283),(21.234,-4.902),(21.082,-5.518),(20.913,-6.129),(20.726,-6.734),(20.478,-7.453),(20.253,-8.046),(19.908,-8.864)])

ring_2179e78d_transform_ = lib.new_cell('ring_2179e78d_transform_d5b51715')
P(ring_2179e78d_transform_, L1_0, [(19.998,-8.904),(20.437,-7.845),(20.819,-6.765),(21.145,-5.666),(21.412,-4.551),(21.535,-3.927),(21.641,-3.299),(21.771,-2.288),(21.861,-1.146),(21.891,0),(21.861,1.146),(21.784,2.161),(21.641,3.299),(21.464,4.302),(21.358,4.8),(21.177,5.543),(21.043,6.034),(20.858,6.643),(20.614,7.367),(20.437,7.845),(19.998,8.904),(20.098,8.948),(20.539,7.884),(20.923,6.798),(21.217,5.818),(21.347,5.322),(21.519,4.574),(21.729,3.442),(21.879,2.3),(21.97,1.151),(21.991,0.64),(22,-0.128),(21.963,-1.279),(21.866,-2.427),(21.786,-3.062),(21.688,-3.694),(21.465,-4.824),(21.347,-5.322),(21.148,-6.064),(20.962,-6.677),(20.717,-7.404),(20.446,-8.123),(20.098,-8.948)])

grating_concentric_arc_2 = lib.new_cell('grating_concentric_arc_2944f743')
P(grating_concentric_arc_2, L1_0, [(0,0.175),(0,-0.175),(10.963,-4.881),(11.203,-4.3),(11.413,-3.708),(11.564,-3.207),(11.716,-2.597),(11.818,-2.084),(11.923,-1.358),(11.978,-0.733),(12,-0.105),(11.989,0.523),(11.945,1.15),(11.868,1.774),(11.738,2.495),(11.564,3.207),(11.413,3.708),(11.203,4.3),(10.963,4.881)])
grating_concentric_arc_2.add(gdstk.Reference(straight_b617759b, (-10,0)))
grating_concentric_arc_2.add(gdstk.Reference(ring_f6908f7f_transform_, (0,0)))
grating_concentric_arc_2.add(gdstk.Reference(ring_3187604d_transform_, (0,0)))
grating_concentric_arc_2.add(gdstk.Reference(ring_612fbc55_transform_, (0,0)))
grating_concentric_arc_2.add(gdstk.Reference(ring_6fd13dff_transform_, (0,0)))
grating_concentric_arc_2.add(gdstk.Reference(ring_70a0d1d5_transform_, (0,0)))
grating_concentric_arc_2.add(gdstk.Reference(ring_32623f31_transform_, (0,0)))
grating_concentric_arc_2.add(gdstk.Reference(ring_a5040164_transform_, (0,0)))
grating_concentric_arc_2.add(gdstk.Reference(ring_d2cb7e5f_transform_, (0,0)))
grating_concentric_arc_2.add(gdstk.Reference(ring_7bb08751_transform_, (0,0)))
grating_concentric_arc_2.add(gdstk.Reference(ring_a05e2332_transform_, (0,0)))
grating_concentric_arc_2.add(gdstk.Reference(ring_1d89af07_transform_, (0,0)))
grating_concentric_arc_2.add(gdstk.Reference(ring_d86fe6da_transform_, (0,0)))
grating_concentric_arc_2.add(gdstk.Reference(ring_1d26766f_transform_, (0,0)))
grating_concentric_arc_2.add(gdstk.Reference(ring_c2eb0f71_transform_, (0,0)))
grating_concentric_arc_2.add(gdstk.Reference(ring_e8487d06_transform_, (0,0)))
grating_concentric_arc_2.add(gdstk.Reference(ring_a9c631b4_transform_, (0,0)))
grating_concentric_arc_2.add(gdstk.Reference(ring_247fc0f7_transform_, (0,0)))
grating_concentric_arc_2.add(gdstk.Reference(ring_f454751c_transform_, (0,0)))
grating_concentric_arc_2.add(gdstk.Reference(ring_ce7b8972_transform_, (0,0)))
grating_concentric_arc_2.add(gdstk.Reference(ring_627ba553_transform_, (0,0)))
grating_concentric_arc_2.add(gdstk.Reference(ring_ff601e6b_transform_, (0,0)))
grating_concentric_arc_2.add(gdstk.Reference(ring_5a0e3c7c_transform_, (0,0)))
grating_concentric_arc_2.add(gdstk.Reference(ring_a0734c23_transform_, (0,0)))
grating_concentric_arc_2.add(gdstk.Reference(ring_170a56c5_transform_, (0,0)))
grating_concentric_arc_2.add(gdstk.Reference(ring_613caf00_transform_, (0,0)))
grating_concentric_arc_2.add(gdstk.Reference(ring_fca23a49_transform_, (0,0)))
grating_concentric_arc_2.add(gdstk.Reference(ring_902678b9_transform_, (0,0)))
grating_concentric_arc_2.add(gdstk.Reference(ring_16f1f77a_transform_, (0,0)))
grating_concentric_arc_2.add(gdstk.Reference(ring_6eba590c_transform_, (0,0)))
grating_concentric_arc_2.add(gdstk.Reference(ring_d9823dc3_transform_, (0,0)))
grating_concentric_arc_2.add(gdstk.Reference(ring_6650b87d_transform_, (0,0)))
grating_concentric_arc_2.add(gdstk.Reference(ring_6530513d_transform_, (0,0)))
grating_concentric_arc_2.add(gdstk.Reference(ring_364817cd_transform_, (0,0)))
grating_concentric_arc_2.add(gdstk.Reference(ring_cceadb83_transform_, (0,0)))
grating_concentric_arc_2.add(gdstk.Reference(ring_ca66dcad_transform_, (0,0)))
grating_concentric_arc_2.add(gdstk.Reference(ring_c6c82bf1_transform_, (0,0)))
grating_concentric_arc_2.add(gdstk.Reference(ring_2179e78d_transform_, (0,0)))

lib.write_gds('grating_concentric_arc_2944f743.gds')
